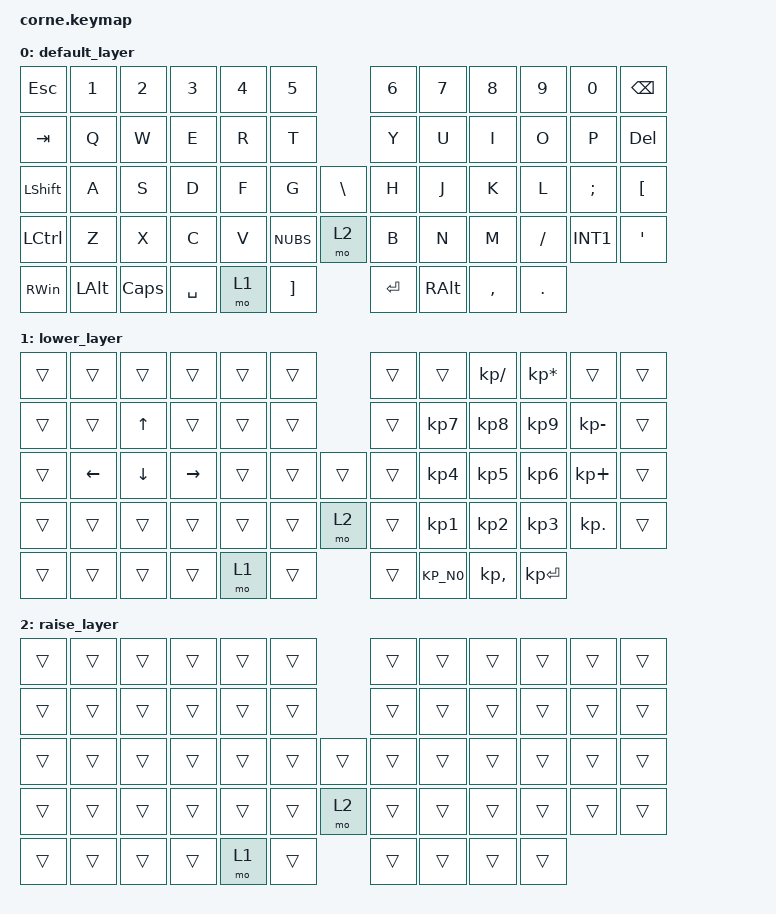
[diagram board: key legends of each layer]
/*
 * Copyright (c) 2020 The ZMK Contributors
 *
 * SPDX-License-Identifier: MIT
 */

#include <behaviors.dtsi>
#include <dt-bindings/zmk/keys.h>
#include <dt-bindings/zmk/bt.h>

/ {
    keymap {
        compatible = "zmk,keymap";

        /* LAYER 0: BASE */
        default_layer {
            bindings = <
                &kp ESC     &kp N1    &kp N2    &kp N3    &kp N4    &kp N5                   &kp N6     &kp N7     &kp N8     &kp N9     &kp N0     &kp BSPC
                &kp TAB     &kp Q     &kp W     &kp E     &kp R     &kp T                    &kp Y      &kp U      &kp I      &kp O      &kp P      &kp DEL
                &kp LSHIFT  &kp A     &kp S     &kp D     &kp F     &kp G          &kp BSLH  &kp H      &kp J      &kp K      &kp L      &kp SEMI   &kp LBKT 
                &kp LCTRL   &kp Z     &kp X     &kp C     &kp V     &kp NUBS       &mo 2     &kp B      &kp N      &kp M      &kp FSLH   &kp INT1   &kp SQT 
                &kp RWIN    &kp LALT  &kp CAPS  &kp SPACE &mo 1     &kp RBKT                 &kp ENTER  &kp RALT   &kp COMMA  &kp DOT          

            >; 
        };

        /* LAYER 1: TESTE (Polegar Meio) */
        lower_layer {
            bindings = <
                &trans     &trans    &trans    &trans    &trans    &trans                    &trans    &trans        &kp KP_DIVIDE   &kp KP_MULTIPLY    &trans          &trans
                &trans     &trans    &kp UP    &trans    &trans    &trans                    &trans    &kp KP_N7     &kp KP_N8       &kp KP_N9          &kp KP_MINUS    &trans
                &trans     &kp LEFT  &kp DOWN  &kp RIGHT &trans    &trans          &trans    &trans    &kp KP_N4     &kp KP_N5       &kp KP_N6          &kp KP_PLUS     &trans 
                &trans     &trans    &trans    &trans    &trans    &trans          &mo 2     &trans    &kp KP_N1     &kp KP_N2       &kp KP_N3          &kp KP_DOT      &trans 
                &trans     &trans    &trans    &trans    &mo 1     &trans                    &trans    &KP_N0        &kp KP_COMMA    &kp KP_ENTER    
            >;
        };

        /* LAYER 2: BLUETOOTH E MEDIA (Polegar Esquerda) */
        raise_layer {
            bindings = <
                &trans     &trans    &trans    &trans    &trans    &trans                    &trans    &trans    &trans    &trans    &trans    &trans
                &trans     &trans    &trans    &trans    &trans    &trans                    &trans    &trans    &trans    &trans    &trans    &trans
                &trans     &trans    &trans    &trans    &trans    &trans          &trans    &trans    &trans    &trans    &trans    &trans    &trans 
                &trans     &trans    &trans    &trans    &trans    &trans          &mo 2     &trans    &trans    &trans    &trans    &trans    &trans 
                &trans     &trans    &trans    &trans    &mo 1     &trans                    &trans    &trans    &trans    &trans    
            >;
        };
    };
};
//For new Layers
    // -----------------------------------------------------------------------------------------
    // |      |     |     |     |     |     |   |     |     |     |     |     |      |
    // |      |     |     |     |     |     |   |     |     |     |     |     |      |
    // |      |     |     |     |     |     |   |     |     |     |     |     |      |
    //                    |     |     |     |   |     |     |     |
